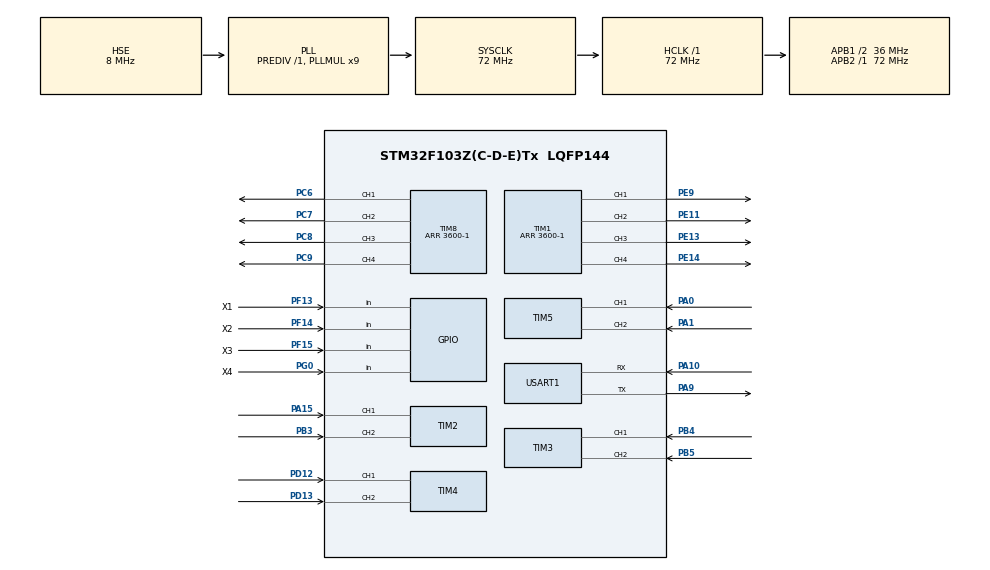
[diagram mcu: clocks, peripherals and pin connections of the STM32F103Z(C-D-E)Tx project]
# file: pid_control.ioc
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Mcu.Family=STM32F1
Mcu.Name=STM32F103Z(C-D-E)Tx
Mcu.Package=LQFP144
NVIC.PriorityGroup=NVIC_PRIORITYGROUP_4
NVIC.TIM6_IRQn=true\:15\:0\:true\:false\:true\:true\:true\:true
NVIC.USART1_IRQn=true\:0\:0\:true\:false\:true\:true\:true\:true
OSC_IN.Mode=HSE-External-Oscillator
OSC_IN.Signal=RCC_OSC_IN
OSC_OUT.Mode=HSE-External-Oscillator
OSC_OUT.Signal=RCC_OSC_OUT
PA0-WKUP.Signal=S_TIM5_CH1
PA1.Signal=S_TIM5_CH2
PA10.Mode=Asynchronous
PA10.Signal=USART1_RX
PA15.Signal=S_TIM2_CH1_ETR
PA9.Mode=Asynchronous
PA9.Signal=USART1_TX
PB3.Signal=S_TIM2_CH2
PB4.Signal=S_TIM3_CH1
PB5.Signal=S_TIM3_CH2
PC6.Signal=S_TIM8_CH1
PC7.Signal=S_TIM8_CH2
PC8.Signal=S_TIM8_CH3
PC9.Signal=S_TIM8_CH4
PD12.Signal=S_TIM4_CH1
PD13.Signal=S_TIM4_CH2
PE11.Signal=S_TIM1_CH2
PE13.Signal=S_TIM1_CH3
PE14.Signal=S_TIM1_CH4
PE9.Signal=S_TIM1_CH1
PF13.GPIO_Label=X1
PF13.Signal=GPIO_Input
PF14.GPIO_Label=X2
PF14.Signal=GPIO_Input
PF15.GPIO_Label=X3
PF15.Signal=GPIO_Input
PG0.GPIO_Label=X4
PG0.Signal=GPIO_Input
ProjectManager.HeapSize=0x200
ProjectManager.StackSize=0x400
ProjectManager.TargetToolchain=MDK-ARM V5.32
RCC.AHBFreq_Value=72000000
RCC.APB1CLKDivider=RCC_HCLK_DIV2
RCC.APB1Freq_Value=36000000
RCC.APB1TimFreq_Value=72000000
RCC.APB2Freq_Value=72000000
RCC.APB2TimFreq_Value=72000000
RCC.HCLKFreq_Value=72000000
RCC.PLLMUL=RCC_PLL_MUL9
RCC.PLLSourceVirtual=RCC_PLLSOURCE_HSE
RCC.SYSCLKFreq_VALUE=72000000
RCC.SYSCLKSource=RCC_SYSCLKSOURCE_PLLCLK
RCC.USBFreq_Value=72000000
SH.S_TIM1_CH1.0=TIM1_CH1,PWM Generation1 CH1
SH.S_TIM1_CH2.0=TIM1_CH2,PWM Generation2 CH2
SH.S_TIM1_CH3.0=TIM1_CH3,PWM Generation3 CH3
SH.S_TIM1_CH4.0=TIM1_CH4,PWM Generation4 CH4
SH.S_TIM2_CH1_ETR.0=TIM2_CH1,Encoder_Interface
SH.S_TIM2_CH2.0=TIM2_CH2,Encoder_Interface
SH.S_TIM3_CH1.0=TIM3_CH1,Encoder_Interface
SH.S_TIM3_CH2.0=TIM3_CH2,Encoder_Interface
SH.S_TIM4_CH1.0=TIM4_CH1,Encoder_Interface
SH.S_TIM4_CH2.0=TIM4_CH2,Encoder_Interface
SH.S_TIM5_CH1.0=TIM5_CH1,Encoder_Interface
SH.S_TIM5_CH2.0=TIM5_CH2,Encoder_Interface
SH.S_TIM8_CH1.0=TIM8_CH1,PWM Generation1 CH1
SH.S_TIM8_CH2.0=TIM8_CH2,PWM Generation2 CH2
SH.S_TIM8_CH3.0=TIM8_CH3,PWM Generation3 CH3
SH.S_TIM8_CH4.0=TIM8_CH4,PWM Generation4 CH4
TIM1.Channel-PWM\ Generation1\ CH1=TIM_CHANNEL_1
TIM1.Channel-PWM\ Generation2\ CH2=TIM_CHANNEL_2
TIM1.Channel-PWM\ Generation3\ CH3=TIM_CHANNEL_3
TIM1.Channel-PWM\ Generation4\ CH4=TIM_CHANNEL_4
TIM1.Period=3600-1
TIM2.EncoderMode=TIM_ENCODERMODE_TI12
TIM3.EncoderMode=TIM_ENCODERMODE_TI12
TIM4.EncoderMode=TIM_ENCODERMODE_TI12
TIM5.EncoderMode=TIM_ENCODERMODE_TI12
TIM6.AutoReloadPreload=TIM_AUTORELOAD_PRELOAD_ENABLE
TIM6.Period=999
TIM6.Prescaler=7200-1
TIM8.Channel-PWM\ Generation1\ CH1=TIM_CHANNEL_1
TIM8.Channel-PWM\ Generation2\ CH2=TIM_CHANNEL_2
TIM8.Channel-PWM\ Generation3\ CH3=TIM_CHANNEL_3
TIM8.Channel-PWM\ Generation4\ CH4=TIM_CHANNEL_4
TIM8.Period=3600-1
USART1.VirtualMode=VM_ASYNC
VP_SYS_VS_ND.Mode=No_Debug
VP_TIM1_VS_ClockSourceINT.Mode=Internal
VP_TIM6_VS_ClockSourceINT.Mode=Enable_Timer
VP_TIM8_VS_ClockSourceINT.Mode=Internal
board=custom

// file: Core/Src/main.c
/* USER CODE BEGIN Header */
/**
  ******************************************************************************
  * @file           : main.c
  * @brief          : Main program body
  ******************************************************************************
  * @attention
  *
  * Copyright (c) 2024 STMicroelectronics.
  * All rights reserved.
  *
  * This software is licensed under terms that can be found in the LICENSE file
  * in the root directory of this software component.
  * If no LICENSE file comes with this software, it is provided AS-IS.
  *
  ******************************************************************************
  */
/* USER CODE END Header */
#include "main.h"
#include "tim.h"
#include "usart.h"
#include "gpio.h"

/* USER CODE BEGIN Includes */
#include "encoder.h"
#include "motor.h"
#include "motor_pid.h"
#include "bsp_usart.h"
#include "irtracking.h"
#include<stdio.h>
/* USER CODE END Includes */

void SystemClock_Config(void);

int main(void)
{

  /* MCU Configuration--------------------------------------------------------*/

  /* Reset of all peripherals, Initializes the Flash interface and the Systick. */
  HAL_Init();

  /* Configure the system clock */
  SystemClock_Config();

  /* Initialize all configured peripherals */
  MX_GPIO_Init();
  MX_TIM1_Init();
  MX_TIM2_Init();
  MX_TIM3_Init();
  MX_TIM4_Init();
  MX_TIM5_Init();
  MX_TIM8_Init();
  MX_TIM6_Init();
  MX_USART1_UART_Init();
  /* USER CODE BEGIN 2 */

  //初始化定时器
  HAL_TIM_PWM_Start(&htim1, TIM_CHANNEL_1);
	HAL_TIM_PWM_Start(&htim1, TIM_CHANNEL_2);
	HAL_TIM_PWM_Start(&htim1, TIM_CHANNEL_3);
	HAL_TIM_PWM_Start(&htim1, TIM_CHANNEL_4);

	HAL_TIM_PWM_Start(&htim8, TIM_CHANNEL_1);
	HAL_TIM_PWM_Start(&htim8, TIM_CHANNEL_2);
	HAL_TIM_PWM_Start(&htim8, TIM_CHANNEL_3);
	HAL_TIM_PWM_Start(&htim8, TIM_CHANNEL_4);

	HAL_TIM_Encoder_Start(&htim2, TIM_CHANNEL_1 | TIM_CHANNEL_2 );
	HAL_TIM_Encoder_Start(&htim3, TIM_CHANNEL_1 | TIM_CHANNEL_2 );
	HAL_TIM_Encoder_Start(&htim4, TIM_CHANNEL_1 | TIM_CHANNEL_2 );
	HAL_TIM_Encoder_Start(&htim5, TIM_CHANNEL_1 | TIM_CHANNEL_2 );

  HAL_TIM_Base_Start_IT(&htim6);

  Bsp_UART1_Init();

  /* USER CODE END 2 */

  /* Infinite loop */
  while (1)
  {
  }
}

void SystemClock_Config(void)
{
  RCC_OscInitTypeDef RCC_OscInitStruct = {0};
  RCC_ClkInitTypeDef RCC_ClkInitStruct = {0};

  /** Initializes the RCC Oscillators according to the specified parameters
  * in the RCC_OscInitTypeDef structure.
  */
  RCC_OscInitStruct.OscillatorType = RCC_OSCILLATORTYPE_HSE;
  RCC_OscInitStruct.HSEState = RCC_HSE_ON;
  RCC_OscInitStruct.HSEPredivValue = RCC_HSE_PREDIV_DIV1;
  RCC_OscInitStruct.HSIState = RCC_HSI_ON;
  RCC_OscInitStruct.PLL.PLLState = RCC_PLL_ON;
  RCC_OscInitStruct.PLL.PLLSource = RCC_PLLSOURCE_HSE;
  RCC_OscInitStruct.PLL.PLLMUL = RCC_PLL_MUL9;
  if (HAL_RCC_OscConfig(&RCC_OscInitStruct) != HAL_OK)
  {
    Error_Handler();
  }

  /** Initializes the CPU, AHB and APB buses clocks
  */
  RCC_ClkInitStruct.ClockType = RCC_CLOCKTYPE_HCLK|RCC_CLOCKTYPE_SYSCLK
                              |RCC_CLOCKTYPE_PCLK1|RCC_CLOCKTYPE_PCLK2;
  RCC_ClkInitStruct.SYSCLKSource = RCC_SYSCLKSOURCE_PLLCLK;
  RCC_ClkInitStruct.AHBCLKDivider = RCC_SYSCLK_DIV1;
  RCC_ClkInitStruct.APB1CLKDivider = RCC_HCLK_DIV2;
  RCC_ClkInitStruct.APB2CLKDivider = RCC_HCLK_DIV1;

  if (HAL_RCC_ClockConfig(&RCC_ClkInitStruct, FLASH_LATENCY_2) != HAL_OK)
  {
    Error_Handler();
  }
}

/* USER CODE BEGIN 4 */
void HAL_TIM_PeriodElapsedCallback(TIM_HandleTypeDef *htim){
    if(htim==&htim6){
      teck();
    }
}

/* USER CODE END 4 */

void Error_Handler(void)
{
  __disable_irq();
  while (1)
  {
  }
}
